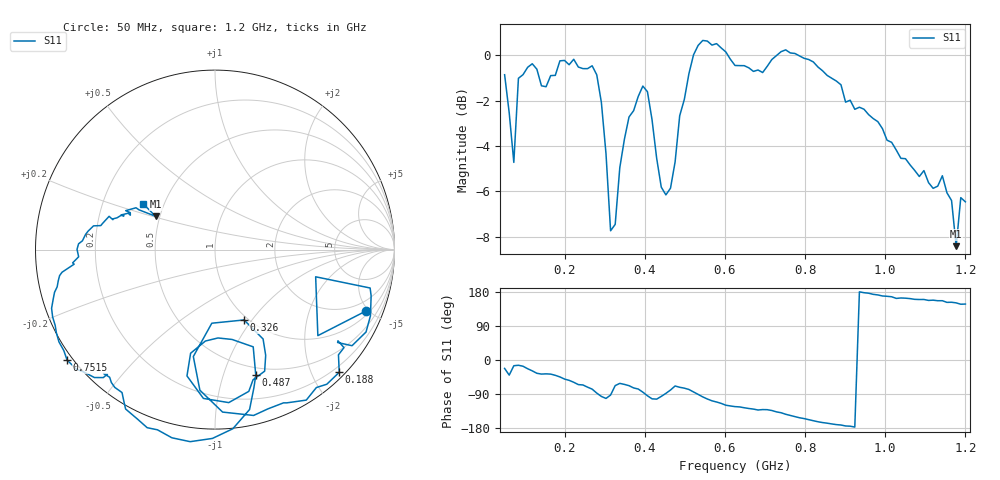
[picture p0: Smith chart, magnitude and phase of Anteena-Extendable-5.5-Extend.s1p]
# HZ S RI R 50
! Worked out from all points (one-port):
!   101 points, 50 MHz to 1.2 GHz, reference 50 ohm
!   lowest |S11| = -8.4 dB at 1.177 GHz (marker M1), VSWR 2.22, Z = 23.7 + j10.3 ohm
!   |S11| at or under -10 dB: nowhere
!   S11 on the Smith chart (normalised r, x): 50 MHz: 1.24, -4.78; 188 MHz: 0.09, -2.43; 326 MHz: 0.96, -0.92; 487 MHz: 0.42, -1.29; 751.5 MHz: -0.02, -0.33; 1.2 GHz: 0.38, +0.25
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5e7  0.8393 -0.343
6.15e7  0.5731 -0.4793
7.3e7  0.5608 -0.1515
8.45e7  0.8643 -0.214
1.305e8  0.7634 -0.5355
1.88e8  0.6922 -0.6837
1.995e8  0.6227 -0.7502
2.455e8  0.3818 -0.8538
2.8e8  0.0422 -0.9052
3.03e8  -0.1208 -0.5958
3.145e8  -0.0177 -0.4101
3.26e8  0.1619 -0.392
3.375e8  0.268 -0.4982
3.95e8  0.0766 -0.8525
4.18e8  -0.1561 -0.7038
4.525e8  0.0167 -0.4923
4.87e8  0.2272 -0.7005
5.1e8  0.1926 -0.891
5.445e8  -0.1384 -1.07
6.25e8  -0.5179 -0.7968
7.055e8  -0.6224 -0.7131
7.515e8  -0.824 -0.6159
7.745e8  -0.8694 -0.5142
9.125e8  -0.7931 -0.0739
1.062e9  -0.5455 0.1772
1.1425e9  -0.4975 0.217
1.177e9  -0.3313 0.1854
1.2e9  -0.4016 0.2546
